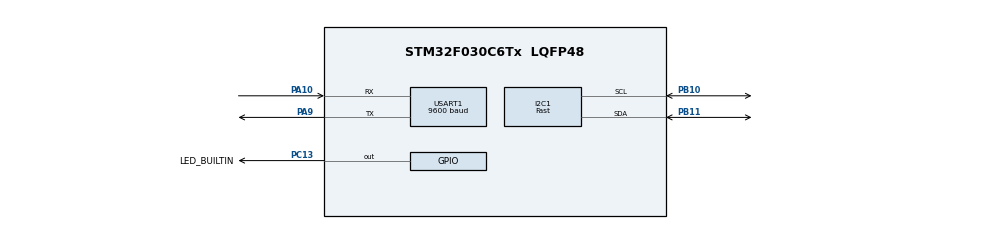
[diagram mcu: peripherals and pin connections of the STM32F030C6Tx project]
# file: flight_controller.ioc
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I2C1.I2C_Speed_Mode=I2C_Fast
I2C1.Timing=0x0010020A
Mcu.Family=STM32F0
Mcu.Name=STM32F030C6Tx
Mcu.Package=LQFP48
PA10.Mode=Asynchronous
PA10.Signal=USART1_RX
PA9.Mode=Asynchronous
PA9.Signal=USART1_TX
PB10.Mode=I2C
PB10.Signal=I2C1_SCL
PB11.Mode=I2C
PB11.Signal=I2C1_SDA
PC13.GPIO_Label=LED_BUILTIN
PC13.Signal=GPIO_Output
ProjectManager.HeapSize=0x200
ProjectManager.StackSize=0x400
ProjectManager.TargetToolchain=STM32CubeIDE
USART1.BaudRate=9600
USART1.VirtualMode-Asynchronous=VM_ASYNC
board=custom

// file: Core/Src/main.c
/* USER CODE BEGIN Header */
/**
 ******************************************************************************
 * @file           : main.c
 * @brief          : Main program body
 ******************************************************************************
 * @attention
 *
 * Copyright (c) 2025 STMicroelectronics.
 * All rights reserved.
 *
 * This software is licensed under terms that can be found in the LICENSE file
 * in the root directory of this software component.
 * If no LICENSE file comes with this software, it is provided AS-IS.
 *
 ******************************************************************************
 */
/* USER CODE END Header */
#include "main.h"

/* USER CODE BEGIN Includes */
#include <stdio.h>
#include "mpu6050.h"
/* USER CODE END Includes */

I2C_HandleTypeDef hi2c1;

UART_HandleTypeDef huart1;

/* USER CODE BEGIN PV */
MPU6050_t MPU6050;
/* USER CODE END PV */

void SystemClock_Config(void);
static void MX_GPIO_Init(void);
static void MX_I2C1_Init(void);
static void MX_USART1_UART_Init(void);

int main(void)
{

    /* MCU Configuration--------------------------------------------------------*/

    /* Reset of all peripherals, Initializes the Flash interface and the Systick. */
    HAL_Init();

    /* Configure the system clock */
    SystemClock_Config();

    /* Initialize all configured peripherals */
    MX_GPIO_Init();
    MX_I2C1_Init();
    MX_USART1_UART_Init();
    /* USER CODE BEGIN 2 */
    char ser_buff[25];
    int ser_buff_len;

    uint8_t u1t_mpu_init_ret;
    uint8_t u1t_mpu_init_cnt = 0;

    do
    {
        u1t_mpu_init_ret = MPU6050_Init(&hi2c1);
        u1t_mpu_init_cnt += 1;

        ser_buff_len = sprintf(ser_buff, ".");
        HAL_UART_Transmit(&huart1, (uint8_t*) ser_buff, ser_buff_len, 100);

        HAL_Delay(500);
    }
    while ((u1t_mpu_init_ret == 1) && (u1t_mpu_init_cnt < 10));

    if (u1t_mpu_init_ret == 0)
    {
        ser_buff_len = sprintf(ser_buff, "sensor OK\n");
    }
    else
    {
        ser_buff_len = sprintf(ser_buff, "sensor Fail\n");
    }
    HAL_UART_Transmit(&huart1, (uint8_t*) ser_buff, ser_buff_len, 100);

    /* USER CODE END 2 */

    /* Infinite loop */
    /* USER CODE BEGIN WHILE */
    while (1)
    {
        MPU6050_Read_All(&hi2c1, &MPU6050);

        ser_buff_len = sprintf(ser_buff, "%d\t%d\n", (int) MPU6050.KalmanAngleX,
                               (int) MPU6050.KalmanAngleY);
        HAL_UART_Transmit(&huart1, (uint8_t*) ser_buff, ser_buff_len, 100);

        HAL_GPIO_TogglePin(LED_BUILTIN_GPIO_Port, LED_BUILTIN_Pin);

        HAL_Delay(50);
        /* USER CODE END WHILE */

    }
}

void SystemClock_Config(void)
{
    RCC_OscInitTypeDef RCC_OscInitStruct = { 0 };
    RCC_ClkInitTypeDef RCC_ClkInitStruct = { 0 };
    RCC_PeriphCLKInitTypeDef PeriphClkInit = { 0 };

    /** Initializes the RCC Oscillators according to the specified parameters
     * in the RCC_OscInitTypeDef structure.
     */
    RCC_OscInitStruct.OscillatorType = RCC_OSCILLATORTYPE_HSI;
    RCC_OscInitStruct.HSIState = RCC_HSI_ON;
    RCC_OscInitStruct.HSICalibrationValue = RCC_HSICALIBRATION_DEFAULT;
    RCC_OscInitStruct.PLL.PLLState = RCC_PLL_NONE;
    if (HAL_RCC_OscConfig(&RCC_OscInitStruct) != HAL_OK)
    {
        Error_Handler();
    }

    /** Initializes the CPU, AHB and APB buses clocks
     */
    RCC_ClkInitStruct.ClockType = RCC_CLOCKTYPE_HCLK | RCC_CLOCKTYPE_SYSCLK
            | RCC_CLOCKTYPE_PCLK1;
    RCC_ClkInitStruct.SYSCLKSource = RCC_SYSCLKSOURCE_HSI;
    RCC_ClkInitStruct.AHBCLKDivider = RCC_SYSCLK_DIV1;
    RCC_ClkInitStruct.APB1CLKDivider = RCC_HCLK_DIV1;

    if (HAL_RCC_ClockConfig(&RCC_ClkInitStruct, FLASH_LATENCY_0) != HAL_OK)
    {
        Error_Handler();
    }
    PeriphClkInit.PeriphClockSelection = RCC_PERIPHCLK_USART1
            | RCC_PERIPHCLK_I2C1;
    PeriphClkInit.Usart1ClockSelection = RCC_USART1CLKSOURCE_PCLK1;
    PeriphClkInit.I2c1ClockSelection = RCC_I2C1CLKSOURCE_HSI;
    if (HAL_RCCEx_PeriphCLKConfig(&PeriphClkInit) != HAL_OK)
    {
        Error_Handler();
    }
}

static void MX_I2C1_Init(void)
{

    hi2c1.Instance = I2C1;
    hi2c1.Init.Timing = 0x0010020A;
    hi2c1.Init.OwnAddress1 = 0;
    hi2c1.Init.AddressingMode = I2C_ADDRESSINGMODE_7BIT;
    hi2c1.Init.DualAddressMode = I2C_DUALADDRESS_DISABLE;
    hi2c1.Init.OwnAddress2 = 0;
    hi2c1.Init.OwnAddress2Masks = I2C_OA2_NOMASK;
    hi2c1.Init.GeneralCallMode = I2C_GENERALCALL_DISABLE;
    hi2c1.Init.NoStretchMode = I2C_NOSTRETCH_DISABLE;
    if (HAL_I2C_Init(&hi2c1) != HAL_OK)
    {
        Error_Handler();
    }

    /** Configure Analogue filter
     */
    if (HAL_I2CEx_ConfigAnalogFilter(&hi2c1, I2C_ANALOGFILTER_ENABLE) != HAL_OK)
    {
        Error_Handler();
    }

    /** Configure Digital filter
     */
    if (HAL_I2CEx_ConfigDigitalFilter(&hi2c1, 0) != HAL_OK)
    {
        Error_Handler();
    }

}

static void MX_USART1_UART_Init(void)
{

    huart1.Instance = USART1;
    huart1.Init.BaudRate = 9600;
    huart1.Init.WordLength = UART_WORDLENGTH_8B;
    huart1.Init.StopBits = UART_STOPBITS_1;
    huart1.Init.Parity = UART_PARITY_NONE;
    huart1.Init.Mode = UART_MODE_TX_RX;
    huart1.Init.HwFlowCtl = UART_HWCONTROL_NONE;
    huart1.Init.OverSampling = UART_OVERSAMPLING_16;
    huart1.Init.OneBitSampling = UART_ONE_BIT_SAMPLE_DISABLE;
    huart1.AdvancedInit.AdvFeatureInit = UART_ADVFEATURE_NO_INIT;
    if (HAL_UART_Init(&huart1) != HAL_OK)
    {
        Error_Handler();
    }

}

static void MX_GPIO_Init(void)
{
    GPIO_InitTypeDef GPIO_InitStruct = { 0 };

    /* GPIO Ports Clock Enable */
    __HAL_RCC_GPIOC_CLK_ENABLE();
    __HAL_RCC_GPIOB_CLK_ENABLE();
    __HAL_RCC_GPIOA_CLK_ENABLE();

    /*Configure GPIO pin Output Level */
    HAL_GPIO_WritePin(LED_BUILTIN_GPIO_Port, LED_BUILTIN_Pin, GPIO_PIN_RESET);

    /*Configure GPIO pin : LED_BUILTIN_Pin */
    GPIO_InitStruct.Pin = LED_BUILTIN_Pin;
    GPIO_InitStruct.Mode = GPIO_MODE_OUTPUT_PP;
    GPIO_InitStruct.Pull = GPIO_NOPULL;
    GPIO_InitStruct.Speed = GPIO_SPEED_FREQ_LOW;
    HAL_GPIO_Init(LED_BUILTIN_GPIO_Port, &GPIO_InitStruct);

}

void Error_Handler(void)
{
    __disable_irq();
    while (1)
    {
    }
}
